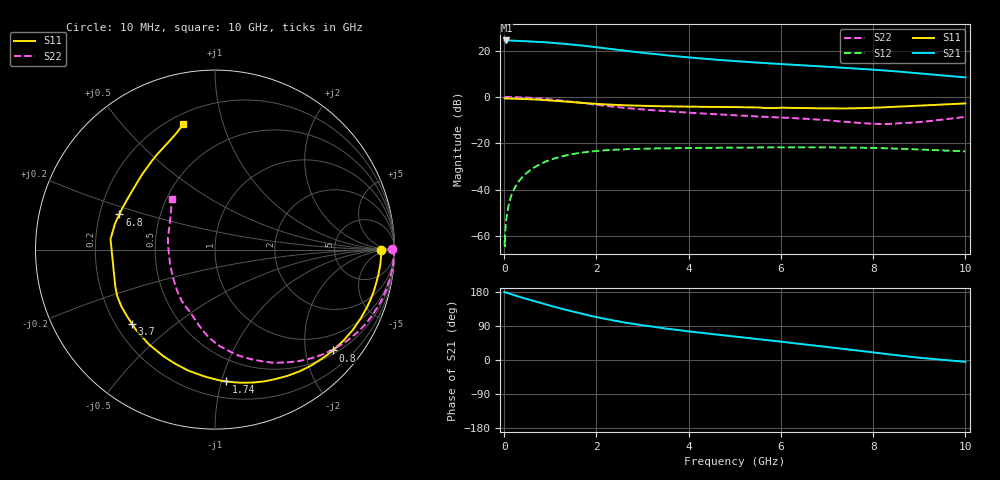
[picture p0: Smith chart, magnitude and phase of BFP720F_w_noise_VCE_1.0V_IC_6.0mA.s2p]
! Infineon Technologies  Discrete & RF Semiconductors
! BFP720F
! VCE =  1.0 V,  IC =  6.0 mA
! Common Emitter S-Parameters:  Jan 2016
# GHz  S  MA  R  50
!  f  S11  S21  S12  S22
! GHz  MAG  ANG  MAG  ANG  MAG  ANG  MAG  ANG
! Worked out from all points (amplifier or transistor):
!   233 points, 10 MHz to 10 GHz, reference 50 ohm
!   highest |S21| = 24.4 dB at 50 MHz (marker M1)
!   |S21| within 3 dB of that: start of sweep to 2.041 GHz
!   unconditionally stable (mu >= 1): start of sweep to 10.43 MHz; 7.888 GHz to end of sweep
!   at 200 MHz: K = 0.03, MSG = 32.4 dB, |S12| = -40.4 dB
!   at 1.74 GHz: K = 0.23, MSG = 23.0 dB, |S12| = -23.9 dB
!   at 10 GHz: K = 1.27, MAG = 12.9 dB, |S12| = -23.5 dB
!   lowest NFmin = 0.45 dB at 450 MHz
!   S11 on the Smith chart (normalised r, x): 10 MHz: 25, -1; 800 MHz: 0.58, -2.60; 1.74 GHz: 0.32, -1.04; 3.7 GHz: 0.27, -0.36; 6.8 GHz: 0.28, +0.16; 10 GHz: 0.26, +0.75
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0.01  0.9234 -0.2  16.52 179.7  0.0008 -17.8  0.9866 0.2
0.015  0.9254 -0.6  16.42 178.8  0.0006 50.9  0.9925 -0.6
0.02  0.9274 -0.9  16.33 177.8  0.0011 93.5  0.9985 -1.3
0.05  0.9258 -2.6  16.54 177.7  0.0024 90.8  0.9958 -1.9
0.16  0.9215 -8.2  16.43 173.1  0.0077 85.3  0.9941 -6.0
0.36  0.9097 -18.2  16.07 165.6  0.017 78.9  0.9791 -13.4
0.8  0.865 -40.5  15.36 150.2  0.0362 65.2  0.9223 -29.3
1  0.8391 -50.4  14.83 143.4  0.0438 59.2  0.8848 -36.4
1.2  0.8114 -60.1  14.28 136.8  0.0505 53.5  0.8438 -43.2
1.4  0.7839 -69.5  13.69 130.5  0.0563 48.1  0.801 -49.6
1.68  0.7445 -82.5  12.9 121.9  0.0628 41.1  0.7392 -58.3
1.74  0.7371 -85.1  12.7 120.2  0.0639 39.7  0.727 -60.0
2.2  0.6899 -102.7  11.2 108.2  0.0708 30.1  0.641 -72.1
2.6  0.6615 -115.2  10 99.2  0.0741 23.4  0.5814 -80.7
3  0.643 -125.3  8.989 91.5  0.0763 18.2  0.5362 -87.5
3.4  0.6288 -132.9  8.139 84.9  0.0774 13.8  0.5007 -92.5
3.7  0.6211 -137.9  7.6 80.2  0.0781 10.9  0.4775 -95.6
4.5  0.6103 -148.6  6.463 68.5  0.0797 4.4  0.4276 -102.5
5.1  0.6009 -155.4  5.839 60.5  0.0806 0.1  0.3965 -107.5
6.8  0.5679 159.8  4.596 37.3  0.0815 -11.4  0.3233 -128.3
8.4  0.6074 125.2  3.623 14.1  0.0773 -22.6  0.2627 175.0
10  0.7223 104.1  2.64 -4.8  0.0668 -28.4  0.3707 130.7
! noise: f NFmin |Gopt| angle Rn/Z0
0.45  0.45  0.44  3  0.16
0.9  0.47  0.42  10  0.17
1.8  0.52  0.38  19  0.16
2.4  0.56  0.37  28  0.14
5.5  0.74  0.34  62  0.09
10  0.97  0.25  -105  0.15
